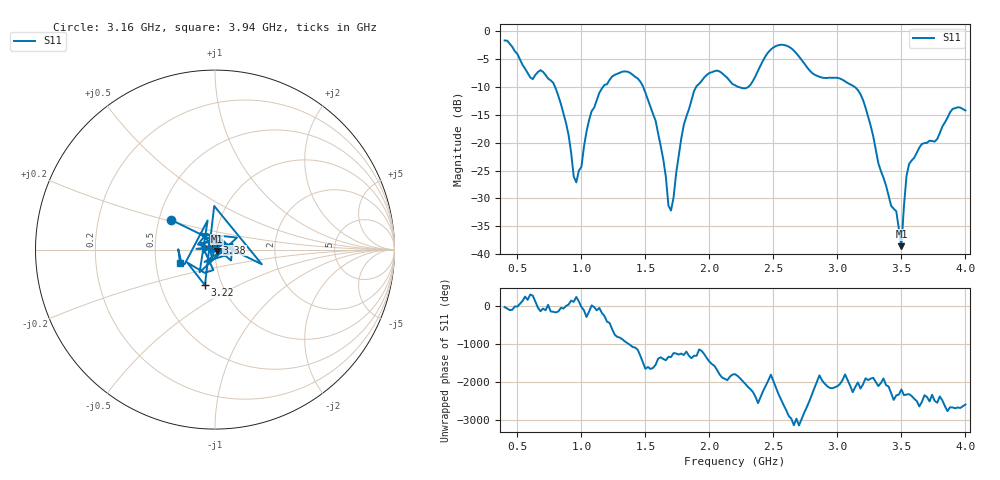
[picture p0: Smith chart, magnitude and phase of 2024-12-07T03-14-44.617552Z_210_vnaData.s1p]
!Created with skrf (http://scikit-rf.org).
# Hz S RI R 50.0
!freq ReS11 ImS11
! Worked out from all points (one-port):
!   181 points, 400 MHz to 4 GHz, reference 50 ohm
!   lowest |S11| = -38.6 dB at 3.5 GHz (marker M1), VSWR 1.02, Z = 50.9 - j0.794 ohm
!   |S11| at or under -10 dB: 794.7 MHz to 1.168 GHz (372.9 MHz wide, 38 % of centre); 1.483 GHz to 1.896 GHz (412.5 MHz wide, 24.4 % of centre); 3.137 GHz to end of sweep (the widest 3 of 4)
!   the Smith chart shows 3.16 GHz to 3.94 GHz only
!   S11 on the Smith chart (normalised r, x): 3.16 GHz: 0.58, +0.21; 3.22 GHz: 0.83, -0.34; 3.38 GHz: 1.02, +0.08; 3.94 GHz: 0.67, -0.10
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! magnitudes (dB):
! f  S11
! 400 MHz  -1.6
! 600 MHz  -8.2
! 780 MHz  -9.2
! 860 MHz  -14.7
! 960 MHz  -27.1
! 1.08 GHz  -14.3
! 1.3 GHz  -7.4
! 1.5 GHz  -11.0
! 1.58 GHz  -16.1
! 1.7 GHz  -32.2
! 1.76 GHz  -22.4
! 1.9 GHz  -9.8
! 2.06 GHz  -7.0
! 2.2 GHz  -9.7
! 2.32 GHz  -9.6
! 2.5 GHz  -2.9
! 2.66 GHz  -3.4
! 2.82 GHz  -7.7
! 3.1 GHz  -9.5
! 3.16 GHz  -10.5
! 3.22 GHz  -13.7
! 3.38 GHz  -27.7
! 3.46 GHz  -32.3
! 3.5 GHz  -38.6
! 3.54 GHz  -26.0
! 3.56 GHz  -23.8
! 3.94 GHz  -13.6
! 4 GHz  -14.2
